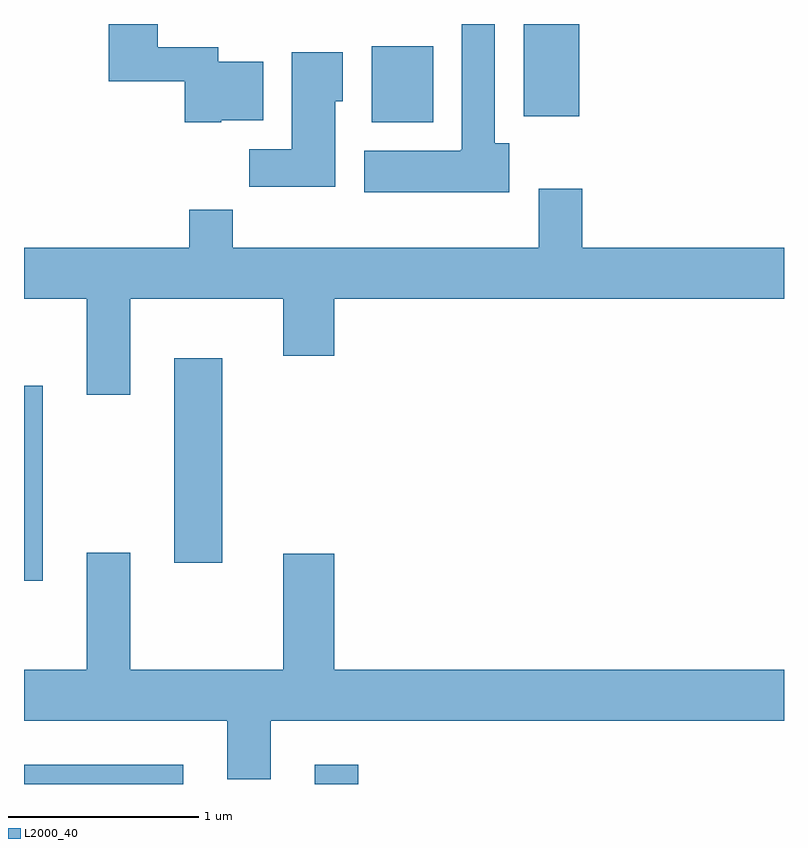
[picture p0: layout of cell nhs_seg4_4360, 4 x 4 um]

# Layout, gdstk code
import gdstk
lib = gdstk.Library(unit=1e-6, precision=1e-09)
def R(c, l, rs):  # rectangles x0, y0, x1, y1
    for r in rs: c.add(gdstk.rectangle(r[:2], r[2:], *l))
def P(c, l, *ps):  # polygons
    for p in ps: c.add(gdstk.Polygon(p, *l))
L2000_40 = (2000, 40)

nhs_seg4_4360 = lib.new_cell('nhs_seg4_4360')
R(nhs_seg4_4360, L2000_40, [(313.611,1269.982,314.449,1270.084), (315.141,1269.982,315.369,1270.084), (313.611,1271.051,313.709,1272.079), (314.401,1271.146,314.654,1272.224), (315.441,1273.466,315.764,1273.864), (316.241,1273.496,316.534,1273.982)])
P(nhs_seg4_4360, L2000_40, [(314.65,1273.476),(314.869,1273.476),(314.869,1273.784),(314.634,1273.784),(314.634,1273.859),(314.314,1273.859),(314.314,1273.982),(314.056,1273.982),(314.056,1273.681),(314.456,1273.681),(314.456,1273.466),(314.65,1273.466)],
  [(316.164,1273.354),(316.089,1273.354),(316.089,1273.982),(315.916,1273.982),(315.916,1273.32),(315.91,1273.32),(315.91,1273.314),(315.401,1273.314),(315.401,1273.096),(316.164,1273.096)],
  [(315.249,1273.576),(315.289,1273.576),(315.289,1273.834),(315.021,1273.834),(315.021,1273.324),(314.796,1273.324),(314.796,1273.126),(315.249,1273.126)],
  [(314.169,1272.536),(314.976,1272.536),(314.976,1272.236),(315.244,1272.236),(315.244,1272.536),(317.611,1272.536),(317.611,1272.804),(316.549,1272.804),(316.549,1273.114),(316.321,1273.114),(316.321,1272.804),(314.709,1272.804),(314.709,1273.004),(314.481,1273.004),(314.481,1272.804),(313.611,1272.804),(313.611,1272.536),(313.941,1272.536),(313.941,1272.031),(314.169,1272.031)],
  [(314.909,1270.316),(317.611,1270.316),(317.611,1270.584),(315.244,1270.584),(315.244,1271.194),(314.976,1271.194),(314.976,1270.584),(314.169,1270.584),(314.169,1271.199),(313.941,1271.199),(313.941,1270.584),(313.611,1270.584),(313.611,1270.316),(314.681,1270.316),(314.681,1270.006),(314.909,1270.006)])

lib.write_gds('nhs_seg4_4360.gds')
